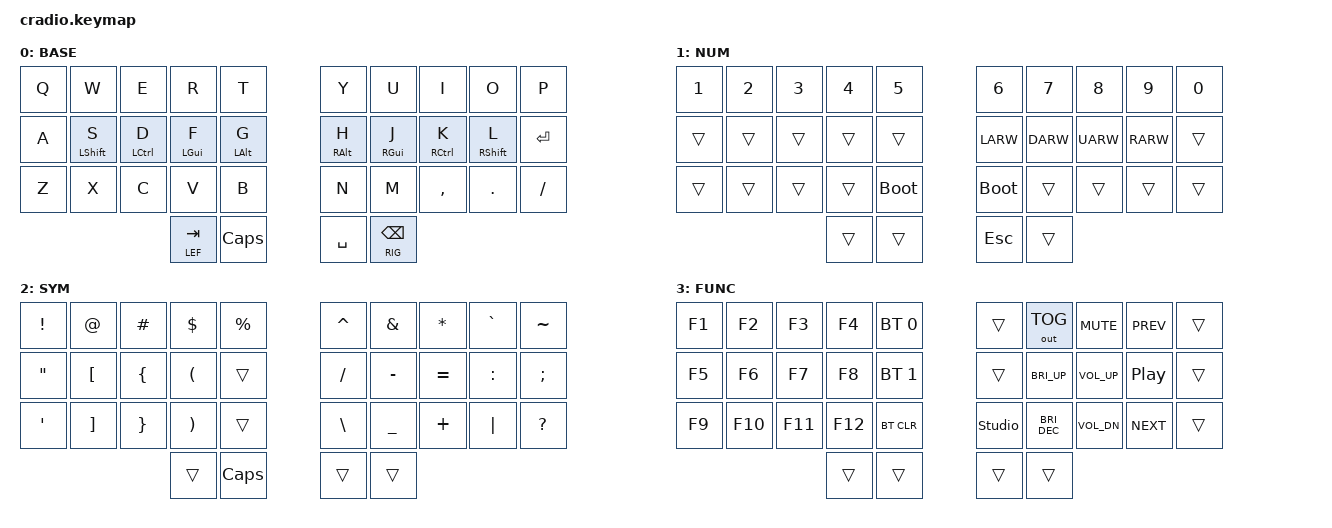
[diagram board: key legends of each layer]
#include <behaviors.dtsi>
#include <dt-bindings/zmk/keys.h>
#include <dt-bindings/zmk/bt.h>
#include <dt-bindings/zmk/outputs.h>

#define ZMK_POINTING_DEFAULT_MOVE_VAL 1500
#define ZMK_POINTING_DEFAULT_SCRL_VAL 20
#include <dt-bindings/zmk/pointing.h>

// Layer definitions
#define BSE 0
#define LEF 1
#define RIG 2
#define TRI 3

&mmv {
    acceleration-exponent = <1>;
    time-to-max-speed-ms = <500>;
    delay-ms = <0>;
};

&msc {
    acceleration-exponent = <1>;
    time-to-max-speed-ms = <500>;
    delay-ms = <0>;
};

&caps_word {
    continue-list = <UNDERSCORE MINUS>;
};

/ {
    behaviors {
    	ht: hold_tap {
                display-name = "hold_tap";
                compatible = "zmk,behavior-hold-tap";
                #binding-cells = <2>;
                flavor = "balanced";
                tapping-term-ms = <200>;
                quick-tap-ms = <150>;
                bindings = <&kp>, <&kp>;
        };
        skq: sticky_key_quick_release {
            compatible = "zmk,behavior-sticky-key";
            #binding-cells = <1>;
            bindings = <&kp>;
            release-after-ms = <1000>;
            quick-release;
            ignore-modifiers;
        };

        skn: sticky_key_normal {
            compatible = "zmk,behavior-sticky-key";
            #binding-cells = <1>;
            bindings = <&kp>;
            release-after-ms = <1000>;
            ignore-modifiers;
        };

        tlt: thumb_layer_tap {
            compatible = "zmk,behavior-hold-tap";
            #binding-cells = <2>;
            flavor = "balanced";
            tapping-term-ms = <200>;
            quick-tap-ms = <150>;
            bindings = <&mo>, <&kp>;
        };
    };

    macros {
        swapper: swapper {
            compatible = "zmk,behavior-macro";
            #binding-cells = <0>;
            wait-ms = <30>;
            tap-ms = <30>;
            bindings
                = <&macro_press &kp LALT>
                , <&macro_tap &kp TAB>
                , <&macro_pause_for_release>
                , <&macro_release &kp LALT>
                ;
        };
    };
    conditional_layers {
        compatible = "zmk,conditional-layers";

        tri_layer {
            if-layers = <RIG LEF>;
            then-layer = <TRI>;
        };
    };

    combos {
        compatible = "zmk,combos";
            qwesc {
                bindings = <&kp ESC>;
                key-positions = <0 1>;
                layers = <0>;
            };
    };

    keymap {
        compatible = "zmk,keymap";
        base {
            display-name = "BASE";
            bindings = <
        //╭──────────┬──────────┬──────────┬──────────┬──────────╮   ╭──────────┬──────────┬──────────┬──────────┬──────────╮
        //│    Q     │    W     │    E     │    R     │    T     │   │    Y     │    U     │    I     │    O     │    P     │
             &kp Q      &kp W      &kp E      &kp R      &kp T          &kp Y      &kp U      &kp I      &kp O      &kp P
        //├──────────┼──────────┼──────────┼──────────┼──────────┤   ├──────────┼──────────┼──────────┼──────────┼──────────┤
        //│    A     │    S     │    D     │    F     │    G     │   │    H     │    J     │    K     │    L     │  ENTER   │
            &kp A   &ht LSHIFT S &ht LCTRL D &ht LGUI F &ht LALT G   &ht RALT H  &ht RGUI J &ht RCTRL K &ht RSHIFT L &kp ENTER
        //├──────────┼──────────┼──────────┼──────────┼──────────┤   ├──────────┼──────────┼──────────┼──────────┼──────────┤
        //│    Z     │    X     │    C     │    V     │    B     │   │    N     │    M     │   , <    │   . >    │    /     │
             &kp Z      &kp X      &kp C      &kp V      &kp B          &kp N      &kp M      &kp COMMA  &kp DOT   &kp FSLH
        //╰──────────┴──────────┴──────────┼──────────┼──────────┤   ├──────────┼──────────┼──────────┴──────────┴──────────╯
                                           &lt LEF TAB   &kp CAPS     &kp SPACE  &lt RIG BSPC
        //                                 ╰──────────┴──────────╯   ╰──────────┴──────────╯
            >;
        };

        left_layer {
            display-name = "NUM";
            bindings = <
        //╭──────────┬──────────┬──────────┬──────────┬──────────╮   ╭──────────┬──────────┬──────────┬──────────┬──────────╮
        //│    1     │    2     │    3     │    4     │    5     │   │    6     │    7     │    8     │    9     │    0     │
            &kp N1      &kp N2     &kp N3     &kp N4     &kp N5        &kp N6     &kp N7     &kp N8     &kp N9      &kp N0
        //├──────────┼──────────┼──────────┼──────────┼──────────┤   ├──────────┼──────────┼──────────┼──────────┼──────────┤
        //│          │          │          │          │          │   │   LEFT   │   DOWN   │    UP    │  RIGHT   │          │
            &trans      &trans     &trans     &trans     &trans        &kp LARW   &kp DARW   &kp UARW   &kp RARW    &trans
        //├──────────┼──────────┼──────────┼──────────┼──────────┤   ├──────────┼──────────┼──────────┼──────────┼──────────┤
        //│          │          │          │          │          │   │          │          │          │          │          │
            &trans      &trans     &trans     &trans   &bootloader    &bootloader  &trans     &trans     &trans     &trans
        //╰──────────┴──────────┴──────────┼──────────┼──────────┤   ├──────────┼──────────┼──────────┴──────────┴──────────╯
                                              &trans     &trans        &kp ESC    &trans
        //                                 ╰──────────┴──────────╯   ╰──────────┴──────────╯
            >;
        };

        right_layer {
            display-name = "SYM";
            bindings = <
        //╭──────────┬──────────┬──────────┬──────────┬──────────╮   ╭──────────┬──────────┬──────────┬──────────┬──────────╮
        //│    !     │    @     │    #     │    $     │    %     │   │    ^     │    &     │    *     │    `     │    ~     │
             &kp EXCL   &kp AT    &kp HASH   &kp DLLR   &kp PRCNT      &kp CARET  &kp AMPS  &kp ASTRK  &kp GRAVE  &kp TILDE
        //├──────────┼──────────┼──────────┼──────────┼──────────┤   ├──────────┼──────────┼──────────┼──────────┼──────────┤
        //│    "     │    [     │    {     │    (     │          │   │    /     │    -     │    =     │    :     │    ;     │
            &kp DQT    &kp LBKT   &kp LBRC   &kp LPAR   &trans        &kp FSLH   &kp MINUS  &kp EQUAL  &kp COLON  &kp SEMI
        //├──────────┼──────────┼──────────┼──────────┼──────────┤   ├──────────┼──────────┼──────────┼──────────┼──────────┤
        //│    '     │    ]     │    }     │    )     │          │   │    \     │    _     │    +     │    |     │    ?     │
            &kp SQT   &kp RBKT    &kp RBRC   &kp RPAR   &trans        &kp BSLH   &kp UNDER  &kp PLUS   &kp PIPE   &kp QMARK
        //╰──────────┴──────────┴──────────┼──────────┼──────────┤   ├──────────┼──────────┼──────────┴──────────┴──────────╯
                                              &trans    &kp CAPS        &trans      &trans
        //                                 ╰──────────┴──────────╯   ╰──────────┴──────────╯
            >;
        };

        tri_layer {
            display-name = "FUNC";
            bindings = <
        //╭──────────┬──────────┬──────────┬────────┬────────────╮   ╭─────────┬────────────┬──────────┬───────────┬──────────╮
        //│    F1    │    F2    │    F3    │    F4  │ PROFILE 0  │   │         │ TOGGLEOUT  │ VOL MUTE │ PREVSONG  │          │
            &kp F1     &kp F2     &kp F3     &kp F4  &bt BT_SEL 0      &trans  &out OUT_TOG  &kp C_MUTE  &kp C_PREV &trans
        //├──────────┼──────────┼──────────┼────────┼────────────┤   ├─────────┼────────────┼──────────┼───────────┼──────────┤
        //│    F5    │    F6    │    F7    │    F8  │ PROFILE 1  │   │         │ INC BRIGHT │ VOL UP   │PAUSEMUSIC │          │
            &kp F5     &kp F6     &kp F7     &kp F8  &bt BT_SEL 1      &trans  &kp C_BRI_UP &kp C_VOL_UP &kp C_PP    &trans
        //├──────────┼──────────┼──────────┼────────┼────────────┤   ├─────────┼────────────┼──────────┼───────────┼──────────┤
        //│    F9    │   F10    │   F11    │    F12 │  CLEAR BT  │   │         │ DEC BRIGHT │ VOL DOWN │ NEXTSONG  │          │
            &kp F9     &kp F10    &kp F11    &kp F12 &bt BT_CLR      &studio_unlock &kp C_BRI_DEC &kp C_VOL_DN &kp C_NEXT &trans
        //╰──────────┴──────────┴──────────┼────────┼────────────┤   ├─────────┼────────────┼──────────┴───────────┴──────────╯
                                             &trans  &trans            &trans     &trans
        //                                 ╰────────┴────────────╯   ╰─────────┴────────────╯
            >;
        };
    };
};
